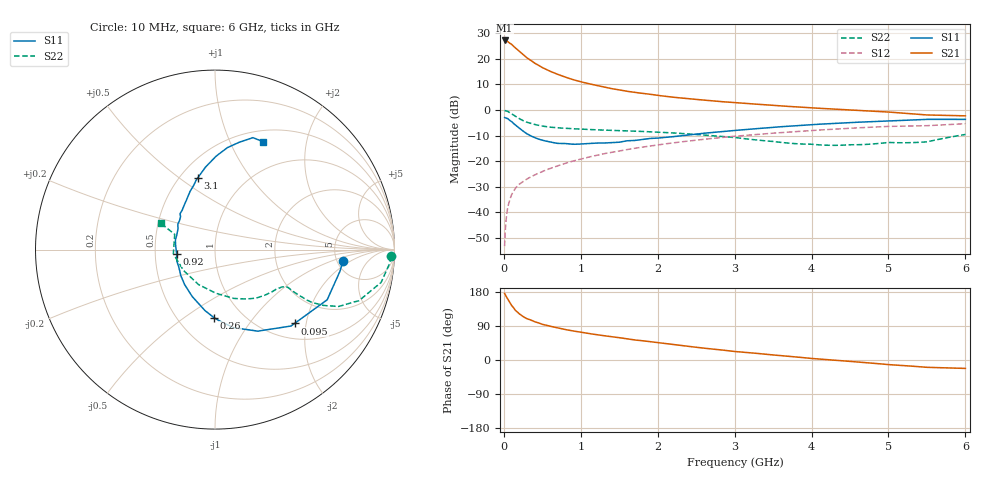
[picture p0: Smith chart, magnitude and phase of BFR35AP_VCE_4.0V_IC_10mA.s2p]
! Infineon Technologies  Discrete & RF Semiconductors
! BFR35AP
! VCE =  4.0 V,  IC =  10 mA
! Common Emitter S-Parameters:  Nov 2015
# GHz  S  MA  R  50
!  f  S11  S21  S12  S22
! GHz  MAG  ANG  MAG  ANG  MAG  ANG  MAG  ANG
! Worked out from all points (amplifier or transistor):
!   210 points, 10 MHz to 6 GHz, reference 50 ohm
!   highest |S21| = 27.2 dB at 10 MHz (marker M1)
!   |S21| within 3 dB of that: start of sweep to 153.9 MHz
!   unconditionally stable (mu >= 1): 583.5 MHz to 3.28 GHz
!   at 185 MHz: K = 0.55, MSG = 26.4 dB, |S12| = -29.4 dB
!   at 1.52 GHz: K = 1.11, MAG = 9.8 dB, |S12| = -15.8 dB
!   at 6 GHz: K = 0.94, MSG = 1.5 dB, |S12| = -5.3 dB
!   S11 on the Smith chart (normalised r, x): 10 MHz: 5.66, -1.45; 95 MHz: 1.33, -1.72; 260 MHz: 0.74, -0.66; 920 MHz: 0.65, -0.03; 3.1 GHz: 0.61, +0.59; 6 GHz: 0.63, +1.34
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0.01  0.7158 -5.0  22.88 175.8  0.0022 85.2  0.984 -2.2
0.02  0.7068 -9.8  22.64 171.6  0.0048 84.0  0.9756 -4.6
0.05  0.6847 -24.1  21.79 160.6  0.0124 78.8  0.9433 -11.2
0.095  0.6051 -42.8  19.45 146.1  0.0211 71.5  0.8598 -18.6
0.1  0.6008 -45.1  19.27 144.3  0.0221 71.0  0.8515 -19.5
0.15  0.5134 -62.3  16.4 131.0  0.0298 65.3  0.7581 -24.7
0.2  0.4474 -76.5  14.02 121.9  0.0356 62.9  0.6806 -27.2
0.24  0.3992 -86.1  12.42 116.1  0.0393 62.2  0.632 -28.2
0.26  0.3793 -90.8  11.72 113.4  0.0412 62.1  0.6115 -28.6
0.3  0.3444 -99.3  10.48 109.0  0.045 62.3  0.578 -28.8
0.4  0.2906 -115.9  8.269 101.1  0.054 62.3  0.5229 -28.4
0.5  0.2581 -131.0  6.764 94.2  0.063 63.7  0.4861 -28.1
0.6  0.2396 -142.6  5.739 89.2  0.0722 64.4  0.4639 -27.5
0.7  0.2239 -154.2  4.986 84.4  0.0815 65.0  0.4504 -27.5
0.92  0.2152 -173.9  3.85 76.0  0.1029 64.8  0.4306 -28.9
1.02  0.218 177.4  3.507 72.8  0.1122 64.6  0.4234 -29.8
1.4  0.2318 154.4  2.627 61.7  0.1494 62.8  0.4023 -34.1
2.02  0.2855 129.9  1.919 45.3  0.2109 57.4  0.3695 -44.5
3.1  0.4118 103.4  1.367 20.8  0.3168 45.3  0.2795 -72.3
4.1  0.5296 88.1  1.084 2.6  0.4076 32.7  0.2093 -121.4
5.1  0.621 76.1  0.892 -13.4  0.4824 18.8  0.2306 -179.4
6  0.6582 66.2  0.772 -22.2  0.5416 8.6  0.3341 154.1
